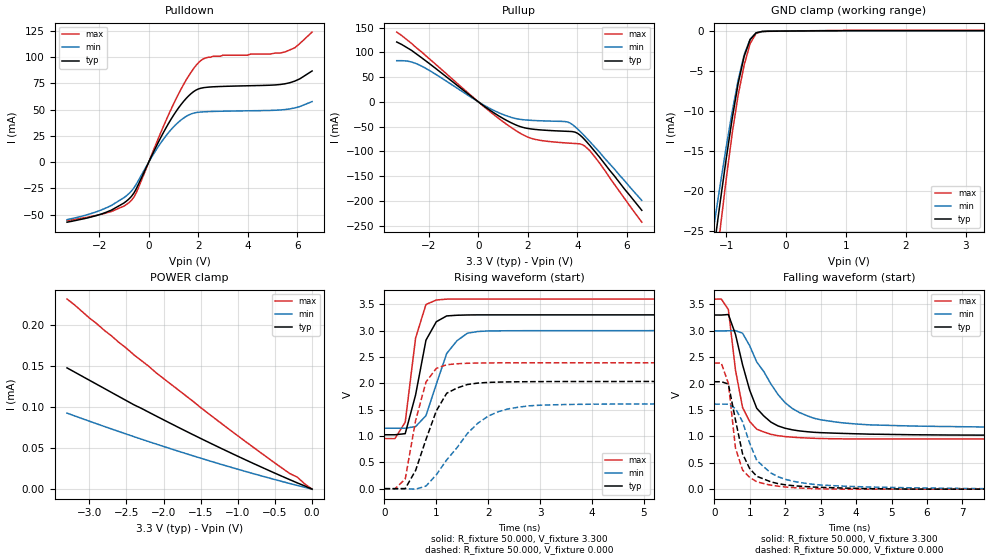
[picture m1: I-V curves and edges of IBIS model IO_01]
| / 7\'7   Xilinx XC9500XL I/O Buffer IBIS File
| \ \   Xilinx Inc.
| / /   2100 Logic Drive
| \_\/.\   San Jose,   CA 95124
[IBIS ver]   3.2
[File name]   blank.ibs
[File Rev]   2.6
[Date]   Wed Dec 06 08:44:48 2017
[Source]   Spice netlist
[Notes]   - max/min process data included in this ibis model
   - Control flag setting:
   SLW=0 - fast slew rate
   SLW=1 - slow slew rate
   VIO=0 - 2.5V Vddio
   VIO=1 - 3.3V Vddio
   NOTE: This file is compliant with IBIS Version 3.2, but it
   may not implement all approved 3.2 features.
   NOTE:  Newer versions of the buffer models may be available.
   Check the web (http://www.xilinx.com/support/sw_ibis.htm) for
   the latest file revision.  However, please be aware that the
   web files are not compatible for use with IBISWriter, and
   must be manually annotated, should their use be preferred.
[Disclaimer] The data in this model is derived from SPICE simulations
                 using modeling information extracted from the target pro-
                 cess. While a great deal of care has been take to provide
                 information that is accurate, this model is considered
                 preliminary as it has not been verified by actual silicon
                 measurement. Treat the data in this model as preliminary
                 until actual silicon verification is performed.
[Copyright]   Xilinx Inc.
|   Component XC9500XL
[Component]   XC9500XL
[Manufacturer]   Xilinx Inc.
[Package]
| For Package Type vq44
| variable   typ   min   max
R_pkg   0.057000m  0.054000m  0.060000m
L_pkg   2.250nH   2.100nH   2.400nH
C_pkg   0.300pF   0.300pF   0.300pF
[Pin]  signal_name   model_name   R_pin   L_pin   C_pin
1   XLXN_1   IO_01
| Models and submodels in the file (1): IO_01 (I/O)
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|   Model IO_01
[Model]   IO_01
Model_type   I/O
Polarity   Inverting
Enable   Active-High
Vinl =   0.800V
Vinh =   2.000V
Vmeas =   1.650V
Cref =  35.000pF
Rref =   169.00
Vref =  1.750V
C_comp   6.700pF   5.700pF   7.600pF
[Temperature Range]   50.000   100.000   0.000
[Voltage Range]   3.300V   3.000V   3.600V
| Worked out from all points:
|   slope of the pulldown table from 0 to 0.495 V, typ, clamps not added: 20.7 ohm
|   slope of the pullup table from 0 to 0.495 V, typ, clamps not added: 27.8 ohm
|   GND clamp passes 1 mA (typ) near -0.59 V on its own axis
|   rising waveform, R_fixture 50.000, V_fixture 3.300: 20-80 % time 297ps typ, 408ps min, 239ps max; typ from 1.02 V to 3.3 V
|   rising waveform, R_fixture 50.000, V_fixture 0.000: 20-80 % time 469ps typ, 827ps min, 316ps max; typ from 0 V to 2.04 V
|   falling waveform, R_fixture 50.000, V_fixture 3.300: 20-80 % time 642ps typ, 1.14ns min, 392ps max; typ from 3.3 V to 1.02 V
|   falling waveform, R_fixture 50.000, V_fixture 0.000: 20-80 % time 482ps typ, 780ps min, 329ps max; typ from 2.04 V to 0 V
[Pulldown]
| voltage   I(typ)   I(min)   I(max)
-3.3V     -57.2mA    -54.8mA    -55.7mA
-1.7V     -47.57mA   -43.39mA   -48.32mA
-700mV    -32.66mA   -27.57mA   -36.39mA
-500mV    -25.26mA   -20.88mA   -29mA
300mV     14.82mA    11.72mA    17.61mA
900mV     40.85mA    30.95mA    50.29mA
1.6V      62.9mA     44.78mA    81.73mA
2.1V      70.46mA    47.8mA     96.79mA
3V        72.23mA    48.59mA    102mA
5.5V      74.68mA    50.15mA    105mA
5.9V      77.27mA    51.71mA    109mA
6.6V      86.93mA    57.76mA    124mA
[Pullup]
| voltage   I(typ)   I(min)   I(max)
-3.3V     121mA      83.26mA    141mA
-2.7V     104mA      80.56mA    118mA
-2.3V     89.33mA    72.44mA    101mA
300mV     -11.04mA   -8.824mA   -12.73mA
1.5V      -46.27mA   -33.63mA   -57.51mA
1.9V      -52.76mA   -36.44mA   -68.97mA
2.3V      -55.67mA   -37.72mA   -75.79mA
3.7V      -59.69mA   -42.64mA   -83.42mA
4V        -63.32mA   -54.46mA   -84.35mA
4.2V      -71.44mA   -64.25mA   -86.4mA
4.5V      -87.94mA   -80.06mA   -98.42mA
6.6V      -219mA     -199mA     -243mA
[GND_clamp]
| voltage   I(typ)   I(min)   I(max)
-3.3V     -155mA     -140mA     -172mA
-1.2V     -26.97mA   -24.12mA   -31.21mA
-1.1V     -21.35mA   -19.21mA   -24.73mA
-1V       -15.97mA   -14.5mA    -18.53mA
-900mV    -10.95mA   -10.08mA   -12.81mA
-800mV    -6.54mA    -6.125mA   -7.981mA
-700mV    -3.156mA   -2.96mA    -4.255mA
-600mV    -1.062mA   -1.009mA   -1.564mA
-500mV    -216uA     -233uA     -293uA
-400mV    -48.58uA   -49.49uA   -64.66uA
200mV     12.56uA    7.341uA    21.34uA
3.3V      50.69uA    25.89uA    95.26uA
[POWER_clamp]
| voltage   I(typ)   I(min)   I(max)
-3.3V     148uA      92.8uA     232uA
-2.4V     103uA      64.12uA    164uA
-1.5V     61.88uA    37.81uA    99.54uA
-500mV    19.51uA    11.69uA    31.91uA
-300mV    11.57uA    6.9uA      19.07uA
-200mV    7.689uA    4.565uA    14.73uA
-100mV    4uA        2.274uA    6.481uA
0V        1.628nA    6.511nA    380pA
[Ramp]
| variable   typ   min   max
dV/dt_r   1.221/0.443n   0.967/0.760n   1.433/0.321n
dV/dt_f   1.366/0.616n   1.101/1.088n   1.589/0.410n
R_load = 50.000
[Rising Waveform]
R_fixture = 50.000
V_fixture = 3.300
V_fixture_min = 3.000
V_fixture_max = 3.600
L_fixture = 0.000H
C_fixture = 0.000F
| time   V(typ)   V(min)   V(max)
0s        1.023V     1.148V     951mV
200ps     1.023V     1.148V     949mV
400ps     1.044V     1.148V     1.262V
600ps     1.779V     1.178V     2.859V
800ps     2.818V     1.386V     3.496V
1ns       3.169V     1.985V     3.581V
1.2ns     3.279V     2.566V     3.598V
1.6ns     3.297V     2.951V     3.598V
1.8ns     3.299V     2.983V     3.599V
10ns      3.299V     3V         3.599V
[Rising Waveform]
R_fixture = 50.000
V_fixture = 0.000
V_fixture_min = 0.000
V_fixture_max = 0.000
L_fixture = 0.000H
C_fixture = 0.000F
| time   V(typ)   V(min)   V(max)
0s        0V         0V         0V
200ps     -298uV     110uV      -3.088mV
400ps     1.188mV    -1.293mV   181mV
600ps     345mV      -9.507mV   1.291V
800ps     933mV      48.75mV    2.024V
1ns       1.477V     263mV      2.284V
1.2ns     1.811V     546mV      2.353V
1.8ns     2.004V     1.242V     2.385V
2.6ns     2.029V     1.549V     2.389V
10ns      2.035V     1.611V     2.389V
[Falling Waveform]
R_fixture = 50.000
V_fixture = 3.300
V_fixture_min = 3.000
V_fixture_max = 3.600
L_fixture = 0.000H
C_fixture = 0.000F
| time   V(typ)   V(min)   V(max)
0s        3.3V       3V         3.6V
200ps     3.299V     2.999V     3.602V
400ps     3.309V     3.001V     3.403V
600ps     2.934V     3.003V     2.257V
800ps     2.357V     2.955V     1.547V
1.2ns     1.532V     2.409V     1.136V
1.6ns     1.27V      1.992V     1.039V
2ns       1.154V     1.638V     997mV
3ns       1.071V     1.314V     960mV
10ns      1.023V     1.165V     951mV
[Falling Waveform]
R_fixture = 50.000
V_fixture = 0.000
V_fixture_min = 0.000
V_fixture_max = 0.000
L_fixture = 0.000H
C_fixture = 0.000F
| time   V(typ)   V(min)   V(max)
0s        2.035V     1.611V     2.389V
200ps     2.036V     1.611V     2.391V
400ps     1.992V     1.61V      2.003V
600ps     1.311V     1.528V     779mV
800ps     669mV      1.276V     362mV
1ns       391mV      871mV      223mV
1.2ns     244mV      546mV      141mV
1.8ns     105mV      236mV      56.13mV
2.8ns     40.08mV    90.65mV    9.067mV
10ns      30.04uV    1.855mV    -12.44uV
